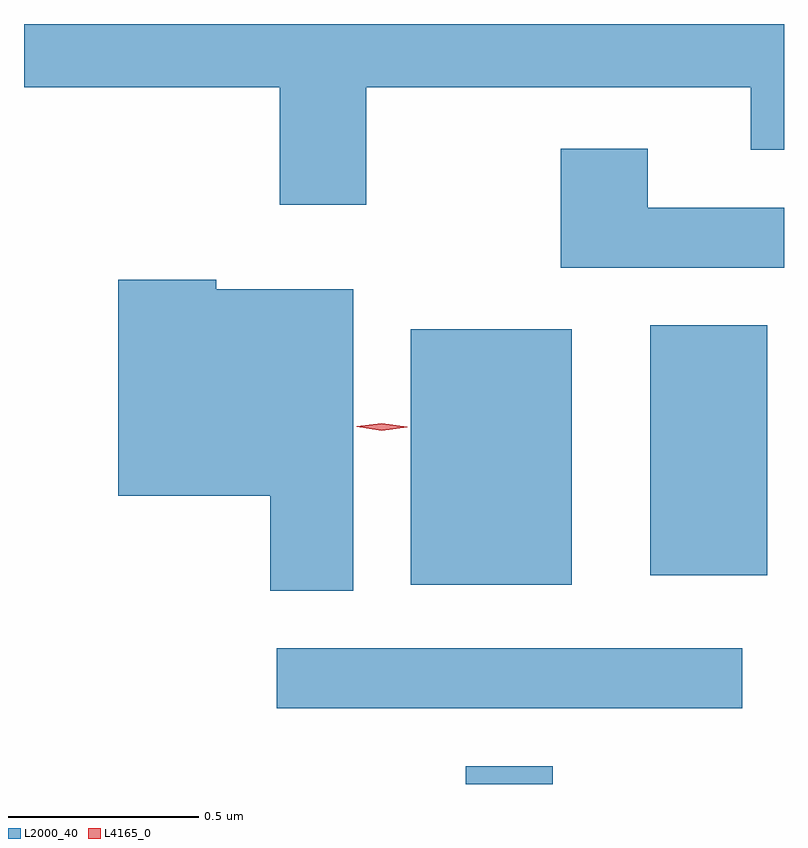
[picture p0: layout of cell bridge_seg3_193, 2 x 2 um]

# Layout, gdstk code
import gdstk
lib = gdstk.Library(unit=1e-6, precision=1e-09)
def R(c, l, rs):  # rectangles x0, y0, x1, y1
    for r in rs: c.add(gdstk.rectangle(r[:2], r[2:], *l))
def P(c, l, *ps):  # polygons
    for p in ps: c.add(gdstk.Polygon(p, *l))
L2000_40 = (2000, 40)
L4165_0 = (4165, 0)

bridge_seg3_193 = lib.new_cell('bridge_seg3_193')
R(bridge_seg3_193, L2000_40, [(768.961,1170.802,769.189,1170.849), (768.463,1171.001,769.688,1171.159), (768.816,1171.326,769.239,1171.999), (769.446,1171.351,769.754,1172.009)])
P(bridge_seg3_193, L2000_40, [(768.699,1172.636),(769.711,1172.636),(769.711,1172.471),(769.798,1172.471),(769.798,1172.802),(767.798,1172.802),(767.798,1172.636),(768.471,1172.636),(768.471,1172.326),(768.699,1172.326)],
  [(769.798,1172.319),(769.439,1172.319),(769.439,1172.474),(769.211,1172.474),(769.211,1172.161),(769.798,1172.161)],
  [(768.664,1172.104),(768.304,1172.104),(768.304,1172.129),(768.046,1172.129),(768.046,1171.561),(768.446,1171.561),(768.446,1171.311),(768.664,1171.311)])
P(bridge_seg3_193, L4165_0, [(768.74,1171.732),(768.674,1171.742),(768.674,1171.743),(768.674,1171.744),(768.74,1171.752),(768.806,1171.742),(768.806,1171.742),(768.806,1171.741)])

lib.write_gds('bridge_seg3_193.gds')
